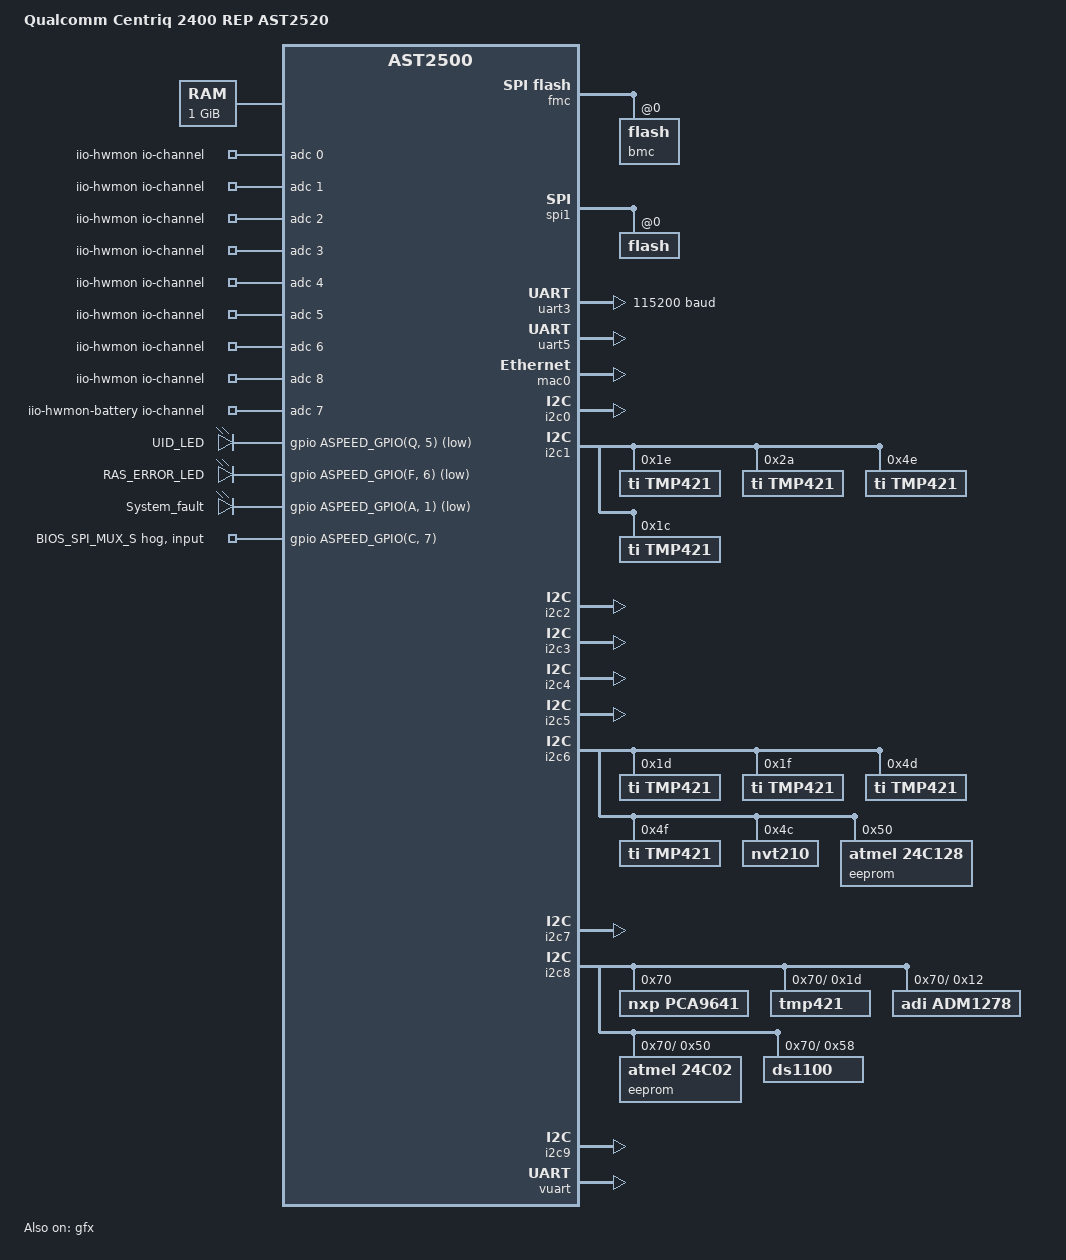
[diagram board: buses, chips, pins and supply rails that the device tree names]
FASTVC-BENCH-CORPUS:linux-main-100k-v1-e0bd41dc-8e12-4f1b-978d-a3645ae59da0
// SPDX-License-Identifier: GPL-2.0+
/dts-v1/;

#include "aspeed-g5.dtsi"
#include <dt-bindings/gpio/aspeed-gpio.h>

/ {
	model = "Qualcomm Centriq 2400  REP AST2520";
	compatible = "qualcomm,centriq2400-rep-bmc", "aspeed,ast2500";

	chosen {
		stdout-path = &uart5;
		bootargs = "console=ttyS4,115200 earlyprintk";
	};

	memory@80000000 {
		reg = <0x80000000 0x40000000>;
	};

	iio-hwmon {
		compatible = "iio-hwmon";
		io-channels = <&adc 0>, <&adc 1>, <&adc 2>, <&adc 3>,
                        <&adc 4>, <&adc 5>, <&adc 6>, <&adc 8>;
	};

	iio-hwmon-battery {
		compatible = "iio-hwmon";
		io-channels = <&adc 7>;
	};

	leds {
		compatible = "gpio-leds";

		uid_led {
			label = "UID_LED";
			gpios = <&gpio ASPEED_GPIO(Q, 5) GPIO_ACTIVE_LOW>;
		};

		ras_error_led {
			label = "RAS_ERROR_LED";
			gpios = <&gpio ASPEED_GPIO(F, 6) GPIO_ACTIVE_LOW>;
		};

		system_fault {
			label = "System_fault";
			gpios = <&gpio ASPEED_GPIO(A, 1) GPIO_ACTIVE_LOW>;
		};
	};
};

&fmc {
	status = "okay";
	flash@0 {
		status = "okay";
		m25p,fast-read;
		label = "bmc";
#include "openbmc-flash-layout.dtsi"
	};
};

&spi1 {
	status = "okay";
	pinctrl-names = "default";
	pinctrl-0 = <&pinctrl_spi1_default>;
	flash@0 {
		status = "okay";
	};
};

&spi2 {
	pinctrl-names = "default";
	pinctrl-0 = <&pinctrl_spi2ck_default
			&pinctrl_spi2miso_default
			&pinctrl_spi2mosi_default
			&pinctrl_spi2cs0_default>;
};

&uart3 {
	status = "okay";

	pinctrl-names = "default";
	pinctrl-0 = <&pinctrl_txd3_default &pinctrl_rxd3_default>;
	current-speed = <115200>;
};

&uart5 {
	status = "okay";
};

&mac0 {
	status = "okay";

	pinctrl-names = "default";
/* bench 8434.1.0 fd2d35554bda */
/* bench 8434.1.1 fda770d85103 */
/* bench 8434.1.2 271b46a8471d */
/* bench 8434.1.3 78af315a20b1 */
/* bench 8434.1.4 961ac478f89d */
};

&i2c0 {
	status = "okay";
};

&i2c1 {
	status = "okay";

	tmp421@1e {
		compatible = "ti,tmp421";
/* bench 9130.0.0 20a7abd6295f */
/* bench 9130.0.1 cc8a7ac2c1ad */
/* bench 9130.0.2 7fa2bbe27853 */
/* bench 9130.0.3 f32579e49b5b */
/* bench 9130.0.4 faf51945b12c */
/* bench 9130.0.5 418519a0b015 */
/* bench 9130.0.6 bdcaaf7b095d */
/* bench 9130.0.7 cd8880f5a536 */
/* bench 13607.0.0 a649d5870301 */
/* bench 13607.0.1 a8b51f021574 */
/* bench 13607.0.2 1373998e0d03 */
/* bench 13607.0.3 befc2c41505b */
/* bench 13607.0.4 8247f5538e2b */
/* bench 13607.0.5 4e1004c90e2a */
/* bench 13607.0.6 6a1c74f87cd9 */
/* bench 13607.0.7 06229150f18d */
/* bench 13607.0.8 6f9468ae8cce */
/* bench 9130.0.10 a08892be5de2 */
/* bench 9130.0.11 cd52189e31d9 */
/* bench 9130.0.12 1340b991c342 */
		reg = <0x1e>;
	};
	tmp421@2a {
		compatible = "ti,tmp421";
		reg = <0x2a>;
	};
	tmp421@4e {
/* bench 4006.0.0 4f6dc4663a20 */
/* bench 4006.0.1 c5eed012054b */
/* bench 4006.0.2 ca7847e16651 */
/* bench 4006.0.3 9404c2e4df23 */
/* bench 4006.0.4 73dfa5548087 */
/* bench 4006.0.5 f2e19421a8ed */
/* bench 4006.0.6 fbaf1b717223 */
/* bench 4006.0.7 84b0e239ab4a */
/* bench 4006.0.8 39e482ee00d4 */
/* bench 4006.0.9 6c18dc88ee82 */
/* bench 4006.0.10 50a2f6d7e82e */
		compatible = "ti,tmp421";
		reg = <0x4e>;
	};
	tmp421@1c {
		compatible = "ti,tmp421";
		reg = <0x1c>;
	};
};

&i2c2 {
	status = "okay";
};

&i2c3 {
	status = "okay";
};

&i2c4 {
	status = "okay";
};

&i2c5 {
	status = "okay";
};

&i2c6 {
	status = "okay";

	tmp421@1d {
		compatible = "ti,tmp421";
		reg = <0x1d>;
	};
	tmp421@1f {
		compatible = "ti,tmp421";
		reg = <0x1f>;
	};
	tmp421@4d {
		compatible = "ti,tmp421";
		reg = <0x4d>;
	};
	tmp421@4f {
		compatible = "ti,tmp421";
		reg = <0x4f>;
	};
	nvt210@4c {
		compatible = "nvt210";
		reg = <0x4c>;
	};
	eeprom@50 {
		compatible = "atmel,24c128";
		reg = <0x50>;
		pagesize = <128>;
	};
};

&i2c7 {
	status = "okay";
};

&i2c8 {
	status = "okay";

	pca9641@70 {
		compatible = "nxp,pca9641";
		reg = <0x70>;
		i2c-arb {
			#address-cells = <1>;
			#size-cells = <0>;
			tmp421@1d {
				compatible = "tmp421";
				reg = <0x1d>;
			};
			adm1278@12 {
				compatible = "adi,adm1278";
				reg = <0x12>;
				Rsense = <500>;
			};
			eeprom@50 {
				compatible = "atmel,24c02";
				reg = <0x50>;
			};
			ds1100@58 {
				compatible = "ds1100";
				reg = <0x58>;
			};
		};
	};
};

&i2c9 {
	status = "okay";
};

&vuart {
	status = "okay";
};

&gfx {
	status = "okay";
};

&pinctrl {
	aspeed,external-nodes = <&gfx &lhc>;
};

&gpio {
	pin_gpio_c7 {
		gpio-hog;
		gpios = <ASPEED_GPIO(C, 7) GPIO_ACTIVE_HIGH>;
		output;
		line-name = "BIOS_SPI_MUX_S";
	};
};
